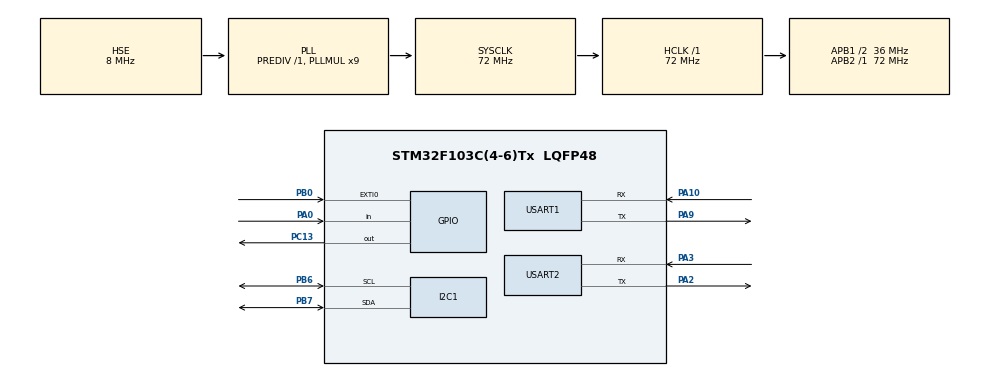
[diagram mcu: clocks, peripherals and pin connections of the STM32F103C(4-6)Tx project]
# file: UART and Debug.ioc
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Mcu.Family=STM32F1
Mcu.Name=STM32F103C(4-6)Tx
Mcu.Package=LQFP48
NVIC.EXTI0_IRQn=true\:0\:0\:false\:false\:true\:true\:true\:true
NVIC.I2C1_ER_IRQn=true\:0\:0\:false\:false\:true\:true\:true\:true
NVIC.I2C1_EV_IRQn=true\:0\:0\:false\:false\:true\:true\:true\:true
NVIC.PriorityGroup=NVIC_PRIORITYGROUP_4
NVIC.USART1_IRQn=true\:5\:0\:true\:false\:true\:true\:true\:true
NVIC.USART2_IRQn=true\:0\:0\:false\:false\:true\:true\:true\:true
PA0-WKUP.GPIO_PuPd=GPIO_PULLUP
PA0-WKUP.Signal=GPIO_Input
PA10.Mode=Asynchronous
PA10.Signal=USART1_RX
PA13.Mode=Serial_Wire
PA13.Signal=SYS_JTMS-SWDIO
PA14.Mode=Serial_Wire
PA14.Signal=SYS_JTCK-SWCLK
PA2.Mode=Asynchronous
PA2.Signal=USART2_TX
PA3.Mode=Asynchronous
PA3.Signal=USART2_RX
PA9.Mode=Asynchronous
PA9.Signal=USART1_TX
PB0.GPIO_ModeDefaultEXTI=GPIO_MODE_IT_FALLING
PB0.GPIO_PuPd=GPIO_PULLUP
PB0.Signal=GPXTI0
PB6.Mode=I2C
PB6.Signal=I2C1_SCL
PB7.Mode=I2C
PB7.Signal=I2C1_SDA
PC13-TAMPER-RTC.Signal=GPIO_Output
PD0-OSC_IN.Mode=HSE-External-Oscillator
PD0-OSC_IN.Signal=RCC_OSC_IN
PD1-OSC_OUT.Mode=HSE-External-Oscillator
PD1-OSC_OUT.Signal=RCC_OSC_OUT
ProjectManager.HeapSize=0x200
ProjectManager.StackSize=0x400
ProjectManager.TargetToolchain=MDK-ARM V5.27
RCC.AHBFreq_Value=72000000
RCC.APB1CLKDivider=RCC_HCLK_DIV2
RCC.APB1Freq_Value=36000000
RCC.APB1TimFreq_Value=72000000
RCC.APB2Freq_Value=72000000
RCC.APB2TimFreq_Value=72000000
RCC.HCLKFreq_Value=72000000
RCC.PLLMUL=RCC_PLL_MUL9
RCC.PLLSourceVirtual=RCC_PLLSOURCE_HSE
RCC.SYSCLKFreq_VALUE=72000000
RCC.SYSCLKSource=RCC_SYSCLKSOURCE_PLLCLK
RCC.USBFreq_Value=72000000
USART1.VirtualMode=VM_ASYNC
USART2.VirtualMode=VM_ASYNC
board=custom

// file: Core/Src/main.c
/* USER CODE BEGIN Header */
/**
  ******************************************************************************
  * @file           : main.c
  * @brief          : Main program body
  ******************************************************************************
  * @attention
  *
  * <h2><center>&copy; Copyright (c) 2024 STMicroelectronics.
  * All rights reserved.</center></h2>
  *
  * This software component is licensed by ST under BSD 3-Clause license,
  * the "License"; You may not use this file except in compliance with the
  * License. You may obtain a copy of the License at:
  *                        opensource.org/licenses/BSD-3-Clause
  *
  ******************************************************************************
  */
/* USER CODE END Header */
#include "main.h"

/* USER CODE BEGIN Includes */
#include "stdio.h"
#include "string.h"

FILE __stdout;

/* USER CODE END Includes */

I2C_HandleTypeDef hi2c1;

UART_HandleTypeDef huart1;
UART_HandleTypeDef huart2;

/* USER CODE BEGIN PV */
uint8_t data_Tx[] = "Hello world\n";
uint8_t data_RX[20];
/* USER CODE END PV */

void SystemClock_Config(void);
static void MX_GPIO_Init(void);
static void MX_I2C1_Init(void);
static void MX_USART1_UART_Init(void);
static void MX_USART2_UART_Init(void);

/* USER CODE BEGIN 0 */

uint16_t countIT = 0;

/* USER CODE END 0 */

int main(void)
{
  /* USER CODE BEGIN 1 */
	int counter = 0;
  /* USER CODE END 1 */

  /* MCU Configuration--------------------------------------------------------*/

  /* Reset of all peripherals, Initializes the Flash interface and the Systick. */
  HAL_Init();

  /* Configure the system clock */
  SystemClock_Config();

  /* Initialize all configured peripherals */
  MX_GPIO_Init();
  MX_I2C1_Init();
  MX_USART1_UART_Init();
  MX_USART2_UART_Init();
  /* USER CODE BEGIN 2 */
	HAL_UART_Receive_IT(&huart1, data_RX, sizeof(data_RX));
  /* USER CODE END 2 */

  /* Infinite loop */
  while (1)
  {

    /* USER CODE BEGIN 3 */

		//if you want to printf helloworld to terminal, uncomment it
//		char s[]="hello world\n";
//		HAL_UART_Transmit(&huart1,(uint8_t *)s,strlen(s), 300);
//		HAL_Delay(500);

		//using printf to print value of variable
//		printf("Number: %d\n", counter++);
//		HAL_Delay(1000);

		// when you push button, hello world will be printed
		if(HAL_GPIO_ReadPin(GPIOA, GPIO_PIN_0) == RESET)
		{
			HAL_Delay(20);
			if(HAL_GPIO_ReadPin(GPIOA, GPIO_PIN_0) == RESET)
			{
				while(HAL_GPIO_ReadPin(GPIOA, GPIO_PIN_0) == RESET);
				HAL_GPIO_TogglePin(GPIOC, GPIO_PIN_13); //switch led status
				HAL_UART_Transmit(&huart1, data_Tx, sizeof(data_Tx), 10); //print hello world to terminal
				countIT ++;

			}
		}
//
	}
  /* USER CODE END 3 */
}

void SystemClock_Config(void)
{
  RCC_OscInitTypeDef RCC_OscInitStruct = {0};
  RCC_ClkInitTypeDef RCC_ClkInitStruct = {0};

  /** Initializes the RCC Oscillators according to the specified parameters
  * in the RCC_OscInitTypeDef structure.
  */
  RCC_OscInitStruct.OscillatorType = RCC_OSCILLATORTYPE_HSE;
  RCC_OscInitStruct.HSEState = RCC_HSE_ON;
  RCC_OscInitStruct.HSEPredivValue = RCC_HSE_PREDIV_DIV1;
  RCC_OscInitStruct.HSIState = RCC_HSI_ON;
  RCC_OscInitStruct.PLL.PLLState = RCC_PLL_ON;
  RCC_OscInitStruct.PLL.PLLSource = RCC_PLLSOURCE_HSE;
  RCC_OscInitStruct.PLL.PLLMUL = RCC_PLL_MUL9;
  if (HAL_RCC_OscConfig(&RCC_OscInitStruct) != HAL_OK)
  {
    Error_Handler();
  }

  /** Initializes the CPU, AHB and APB buses clocks
  */
  RCC_ClkInitStruct.ClockType = RCC_CLOCKTYPE_HCLK|RCC_CLOCKTYPE_SYSCLK
                              |RCC_CLOCKTYPE_PCLK1|RCC_CLOCKTYPE_PCLK2;
  RCC_ClkInitStruct.SYSCLKSource = RCC_SYSCLKSOURCE_PLLCLK;
  RCC_ClkInitStruct.AHBCLKDivider = RCC_SYSCLK_DIV1;
  RCC_ClkInitStruct.APB1CLKDivider = RCC_HCLK_DIV2;
  RCC_ClkInitStruct.APB2CLKDivider = RCC_HCLK_DIV1;

  if (HAL_RCC_ClockConfig(&RCC_ClkInitStruct, FLASH_LATENCY_2) != HAL_OK)
  {
    Error_Handler();
  }
}

static void MX_I2C1_Init(void)
{

  hi2c1.Instance = I2C1;
  hi2c1.Init.ClockSpeed = 100000;
  hi2c1.Init.DutyCycle = I2C_DUTYCYCLE_2;
  hi2c1.Init.OwnAddress1 = 0;
  hi2c1.Init.AddressingMode = I2C_ADDRESSINGMODE_7BIT;
  hi2c1.Init.DualAddressMode = I2C_DUALADDRESS_DISABLE;
  hi2c1.Init.OwnAddress2 = 0;
  hi2c1.Init.GeneralCallMode = I2C_GENERALCALL_DISABLE;
  hi2c1.Init.NoStretchMode = I2C_NOSTRETCH_DISABLE;
  if (HAL_I2C_Init(&hi2c1) != HAL_OK)
  {
    Error_Handler();
  }

}

static void MX_USART1_UART_Init(void)
{

  huart1.Instance = USART1;
  huart1.Init.BaudRate = 115200;
  huart1.Init.WordLength = UART_WORDLENGTH_8B;
  huart1.Init.StopBits = UART_STOPBITS_1;
  huart1.Init.Parity = UART_PARITY_NONE;
  huart1.Init.Mode = UART_MODE_TX_RX;
  huart1.Init.HwFlowCtl = UART_HWCONTROL_NONE;
  huart1.Init.OverSampling = UART_OVERSAMPLING_16;
  if (HAL_UART_Init(&huart1) != HAL_OK)
  {
    Error_Handler();
  }

}

static void MX_USART2_UART_Init(void)
{

  huart2.Instance = USART2;
  huart2.Init.BaudRate = 115200;
  huart2.Init.WordLength = UART_WORDLENGTH_8B;
  huart2.Init.StopBits = UART_STOPBITS_1;
  huart2.Init.Parity = UART_PARITY_NONE;
  huart2.Init.Mode = UART_MODE_TX_RX;
  huart2.Init.HwFlowCtl = UART_HWCONTROL_NONE;
  huart2.Init.OverSampling = UART_OVERSAMPLING_16;
  if (HAL_UART_Init(&huart2) != HAL_OK)
  {
    Error_Handler();
  }

}

static void MX_GPIO_Init(void)
{
  GPIO_InitTypeDef GPIO_InitStruct = {0};

  /* GPIO Ports Clock Enable */
  __HAL_RCC_GPIOC_CLK_ENABLE();
  __HAL_RCC_GPIOD_CLK_ENABLE();
  __HAL_RCC_GPIOA_CLK_ENABLE();
  __HAL_RCC_GPIOB_CLK_ENABLE();

  /*Configure GPIO pin Output Level */
  HAL_GPIO_WritePin(GPIOC, GPIO_PIN_13, GPIO_PIN_RESET);

  /*Configure GPIO pin : PC13 */
  GPIO_InitStruct.Pin = GPIO_PIN_13;
  GPIO_InitStruct.Mode = GPIO_MODE_OUTPUT_PP;
  GPIO_InitStruct.Pull = GPIO_NOPULL;
  GPIO_InitStruct.Speed = GPIO_SPEED_FREQ_LOW;
  HAL_GPIO_Init(GPIOC, &GPIO_InitStruct);

  /*Configure GPIO pin : PA0 */
  GPIO_InitStruct.Pin = GPIO_PIN_0;
  GPIO_InitStruct.Mode = GPIO_MODE_INPUT;
  GPIO_InitStruct.Pull = GPIO_PULLUP;
  HAL_GPIO_Init(GPIOA, &GPIO_InitStruct);

  /*Configure GPIO pin : PB0 */
  GPIO_InitStruct.Pin = GPIO_PIN_0;
  GPIO_InitStruct.Mode = GPIO_MODE_IT_FALLING;
  GPIO_InitStruct.Pull = GPIO_PULLUP;
  HAL_GPIO_Init(GPIOB, &GPIO_InitStruct);

  /* EXTI interrupt init*/
  HAL_NVIC_SetPriority(EXTI0_IRQn, 0, 0);
  HAL_NVIC_EnableIRQ(EXTI0_IRQn);

}

/* USER CODE BEGIN 4 */
void HAL_UART_RxCpltCallback(UART_HandleTypeDef *huart)
{
	if(huart->Instance == huart1.Instance)
	{
		HAL_UART_Receive_IT(&huart1, data_RX, sizeof(data_RX));
	}
}
/* USER CODE END 4 */

void Error_Handler(void)
{
}
